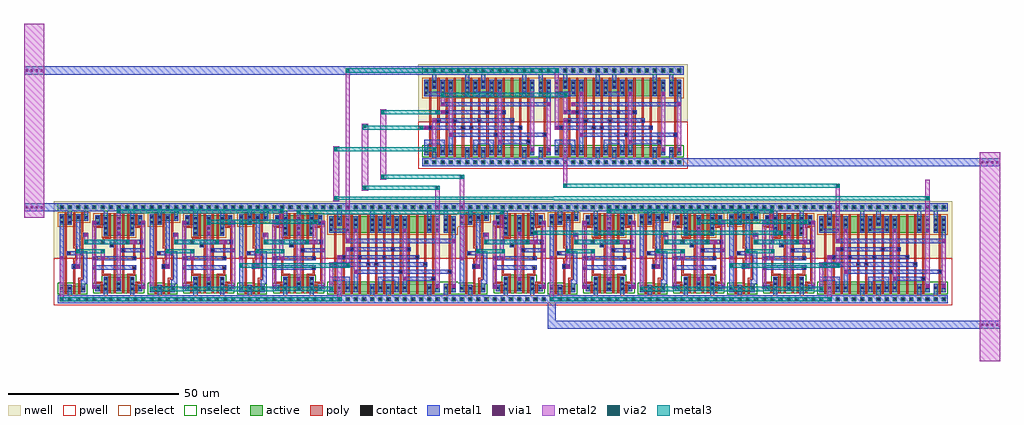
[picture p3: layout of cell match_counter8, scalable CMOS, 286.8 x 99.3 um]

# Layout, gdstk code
import gdstk
lib = gdstk.Library(unit=1e-6, precision=1e-09)
def R(c, l, rs):  # rectangles x0, y0, x1, y1
    for r in rs: c.add(gdstk.rectangle(r[:2], r[2:], *l))
def A(c, l, x, y, w, h, nx, ny, dx, dy):  # array of equal rectangles
    R(c, l, [(x+i*dx, y+j*dy, x+i*dx+w, y+j*dy+h) for i in range(nx) for j in range(ny)])
contact = (25, 0)
pwell = (41, 0)
nwell = (42, 0)
active = (43, 0)
pselect = (44, 0)
nselect = (45, 0)
poly = (46, 0)
metal1 = (49, 0)
via1 = (50, 0)
metal2 = (51, 0)
via2 = (61, 0)
metal3 = (62, 0)

fulladder = lib.new_cell('fulladder')
A(fulladder, contact, -0.3, -0.3, 0.6, 0.6, 16, 2, 2.4, 27)
A(fulladder, contact, -0.3, 3, 0.6, 0.6, 4, 1, 2.4, 0)
A(fulladder, contact, 11.7, 3, 0.6, 0.6, 5, 1, 2.4, 0)
A(fulladder, contact, 28.5, 3, 0.6, 0.6, 4, 2, 2.4, 17.1)
A(fulladder, contact, -0.3, 20.1, 0.6, 0.6, 1, 3, 0, 1.5)
A(fulladder, contact, 4.5, 20.1, 0.6, 0.6, 1, 3, 0, 1.5)
A(fulladder, contact, 6.9, 20.1, 0.6, 0.6, 1, 3, 0, 1.5)
A(fulladder, contact, 11.7, 20.1, 0.6, 0.6, 1, 3, 0, 1.5)
A(fulladder, contact, 14.1, 20.1, 0.6, 0.6, 1, 3, 0, 1.5)
A(fulladder, contact, 18.9, 20.1, 0.6, 0.6, 1, 3, 0, 1.5)
A(fulladder, contact, 21.3, 20.1, 0.6, 0.6, 1, 3, 0, 1.5)
A(fulladder, contact, 28.5, 21.6, 0.6, 0.6, 4, 2, 2.4, 1.5)
R(fulladder, contact, [(29.7,5.7,30.3,6.3), (20.1,7.8,20.7,8.4), (34.5,7.8,35.1,8.4), (0.9,9.9,1.5,10.5), (10.5,9.9,11.1,10.5), (12.9,9.9,13.5,10.5), (27.3,9.9,27.9,10.5), (3.3,12,3.9,12.6), (8.1,12,8.7,12.6), (15.3,12,15.9,12.6), (24.9,12,25.5,12.6), (5.7,14.4,6.3,15), (17.7,14.4,18.3,15), (22.5,14.4,23.1,15), (2.1,21.9,2.7,22.5), (16.5,21.9,17.1,22.5), (2.1,23.4,2.7,24), (16.5,23.4,17.1,24)])
A(fulladder, pwell, -1.5, -1.5, 3, 3, 16, 1, 2.4, 0)
A(fulladder, pwell, -2.4, 0.3, 4.8, 6, 4, 1, 2.4, 0)
A(fulladder, pwell, -1.8, 0.3, 6, 6, 13, 1, 2.4, 0)
A(fulladder, pwell, 9.6, 0.3, 4.8, 6, 5, 1, 2.4, 0)
A(fulladder, pwell, 26.4, 0.3, 4.8, 6, 4, 1, 2.4, 0)
A(fulladder, pwell, -2.25, 1.05, 4.65, 4.5, 4, 1, 2.4, 0)
A(fulladder, pwell, 0.15, 1.05, 4.5, 4.5, 13, 1, 2.4, 0)
A(fulladder, pwell, 9.75, 1.05, 4.65, 4.5, 3, 1, 2.4, 0)
R(fulladder, pwell, [(-2.4,-1.8,38.4,12), (-2.4,-1.5,38.4,6.3), (31.8,0.3,37.8,6.3), (16.8,1.05,21.45,5.55), (16.95,1.05,21.6,5.55), (19.35,1.05,24,5.55), (26.55,1.05,31.2,5.55), (31.35,1.05,36,5.55), (33.75,1.05,38.25,5.55)])
A(fulladder, nwell, -1.8, 17.7, 6, 8.4, 13, 1, 2.4, 0)
A(fulladder, nwell, 26.4, 17.7, 4.8, 8.4, 4, 1, 2.4, 0)
A(fulladder, nwell, 4.95, 19.65, 4.5, 4.5, 3, 1, 2.4, 0)
A(fulladder, nwell, 19.35, 19.65, 4.5, 4.5, 4, 1, 2.4, 0)
A(fulladder, nwell, 26.55, 19.65, 4.5, 4.5, 4, 1, 2.4, 0)
A(fulladder, nwell, -1.5, 25.5, 3, 3, 16, 1, 2.4, 0)
R(fulladder, nwell, [(-2.4,12,38.4,28.8), (-2.4,14.1,38.4,24.9), (-2.4,17.7,2.4,26.1), (2.4,17.7,7.2,26.1), (4.8,17.7,9.6,26.1), (9.6,17.7,14.4,26.1), (12,17.7,16.8,26.1), (16.8,17.7,21.6,26.1), (19.2,17.7,24,26.1), (31.8,17.7,37.8,26.1), (-2.25,19.65,2.25,24.15), (2.55,19.65,7.05,24.15), (2.55,19.65,7.05,24.15), (4.95,19.65,9.45,24.15), (9.75,19.65,14.25,24.15), (12.15,19.65,16.65,24.15), (12.15,19.65,16.65,24.15), (19.35,19.65,23.85,24.15), (0,19.8,4.8,26.1), (0.15,19.8,4.65,24.3), (0.15,19.8,4.65,24.3), (14.4,19.8,19.2,26.1), (14.55,19.8,19.05,24.3), (14.55,19.8,19.05,24.3), (16.95,19.95,21.45,24.45), (16.95,19.95,21.45,24.45)])
A(fulladder, active, -0.6, -0.6, 1.2, 1.2, 16, 2, 2.4, 27)
A(fulladder, active, -0.6, 2.1, 1.2, 2.4, 4, 1, 2.4, 0)
A(fulladder, active, 0, 2.1, 2.4, 2.4, 13, 1, 2.4, 0)
A(fulladder, active, 11.4, 2.1, 1.2, 2.4, 5, 1, 2.4, 0)
A(fulladder, active, 28.2, 2.1, 1.2, 2.4, 4, 1, 2.4, 0)
A(fulladder, active, -0.45, 2.85, 1.05, 0.9, 4, 1, 2.4, 0)
A(fulladder, active, 1.95, 2.85, 0.9, 0.9, 13, 1, 2.4, 0)
A(fulladder, active, 11.55, 2.85, 1.05, 0.9, 3, 1, 2.4, 0)
A(fulladder, active, 0, 19.5, 2.4, 4.8, 13, 1, 2.4, 0)
A(fulladder, active, 28.2, 19.5, 1.2, 4.8, 4, 1, 2.4, 0)
A(fulladder, active, 6.75, 21.45, 0.9, 0.9, 3, 1, 2.4, 0)
A(fulladder, active, 21.15, 21.45, 0.9, 0.9, 4, 1, 2.4, 0)
A(fulladder, active, 28.35, 21.45, 0.9, 0.9, 4, 1, 2.4, 0)
R(fulladder, active, [(33.6,2.1,36,4.5), (18.6,2.85,19.65,3.75), (18.75,2.85,19.8,3.75), (21.15,2.85,22.2,3.75), (28.35,2.85,29.4,3.75), (33.15,2.85,34.2,3.75), (35.55,2.85,36.45,3.75), (-0.6,19.5,0.6,24.3), (4.2,19.5,5.4,24.3), (6.6,19.5,7.8,24.3), (11.4,19.5,12.6,24.3), (13.8,19.5,15,24.3), (18.6,19.5,19.8,24.3), (21,19.5,22.2,24.3), (33.6,19.5,36,24.3), (-0.45,21.45,0.45,22.35), (4.35,21.45,5.25,22.35), (4.35,21.45,5.25,22.35), (6.75,21.45,7.65,22.35), (11.55,21.45,12.45,22.35), (13.95,21.45,14.85,22.35), (13.95,21.45,14.85,22.35), (21.15,21.45,22.05,22.35), (1.8,21.6,3,24.3), (1.95,21.6,2.85,22.5), (1.95,21.6,2.85,22.5), (16.2,21.6,17.4,24.3), (16.35,21.6,17.25,22.5), (16.35,21.6,17.25,22.5), (18.75,21.75,19.65,22.65), (18.75,21.75,19.65,22.65)])
A(fulladder, pselect, -1.2, -1.2, 2.4, 2.4, 16, 1, 2.4, 0)
A(fulladder, pselect, -0.6, 18.9, 3.6, 6, 13, 1, 2.4, 0)
A(fulladder, pselect, 27.6, 18.9, 2.4, 6, 4, 1, 2.4, 0)
A(fulladder, pselect, 6.15, 20.85, 2.1, 2.1, 3, 1, 2.4, 0)
A(fulladder, pselect, 20.55, 20.85, 2.1, 2.1, 4, 1, 2.4, 0)
A(fulladder, pselect, 27.75, 20.85, 2.1, 2.1, 4, 1, 2.4, 0)
R(fulladder, pselect, [(-1.2,18.9,1.2,24.9), (3.6,18.9,6,24.9), (6,18.9,8.4,24.9), (10.8,18.9,13.2,24.9), (13.2,18.9,15.6,24.9), (18,18.9,20.4,24.9), (20.4,18.9,22.8,24.9), (33,18.9,36.6,24.9), (-1.05,20.85,1.05,22.95), (3.75,20.85,5.85,22.95), (3.75,20.85,5.85,22.95), (6.15,20.85,8.25,22.95), (10.95,20.85,13.05,22.95), (13.35,20.85,15.45,22.95), (13.35,20.85,15.45,22.95), (20.55,20.85,22.65,22.95), (1.2,21,3.6,24.9), (1.35,21,3.45,23.1), (1.35,21,3.45,23.1), (15.6,21,18,24.9), (15.75,21,17.85,23.1), (15.75,21,17.85,23.1), (18.15,21.15,20.25,23.25), (18.15,21.15,20.25,23.25)])
A(fulladder, nselect, -1.2, 1.5, 2.4, 3.6, 4, 1, 2.4, 0)
A(fulladder, nselect, -0.6, 1.5, 3.6, 3.6, 13, 1, 2.4, 0)
A(fulladder, nselect, 10.8, 1.5, 2.4, 3.6, 5, 1, 2.4, 0)
A(fulladder, nselect, 27.6, 1.5, 2.4, 3.6, 4, 1, 2.4, 0)
A(fulladder, nselect, -1.05, 2.25, 2.25, 2.1, 4, 1, 2.4, 0)
A(fulladder, nselect, 1.35, 2.25, 2.1, 2.1, 13, 1, 2.4, 0)
A(fulladder, nselect, 10.95, 2.25, 2.25, 2.1, 3, 1, 2.4, 0)
A(fulladder, nselect, -1.2, 25.8, 2.4, 2.4, 16, 1, 2.4, 0)
R(fulladder, nselect, [(33,1.5,36.6,5.1), (18,2.25,20.25,4.35), (18.15,2.25,20.4,4.35), (20.55,2.25,22.8,4.35), (27.75,2.25,30,4.35), (32.55,2.25,34.8,4.35), (34.95,2.25,37.05,4.35)])
A(fulladder, poly, 0.9, 1.5, 0.6, 3.6, 13, 1, 2.4, 0)
A(fulladder, poly, 0.9, 18.9, 0.6, 6, 13, 1, 2.4, 0)
R(fulladder, poly, [(34.5,1.5,35.1,5.1), (0.9,4.8,1.5,10.5), (3.3,4.8,3.9,12.6), (5.7,4.8,6.3,15), (8.1,4.8,8.7,12.3), (10.5,4.8,11.1,10.5), (12.9,4.8,13.5,10.5), (15.3,4.8,15.9,12.6), (17.7,4.8,18.3,15), (20.1,4.8,20.7,8.4), (22.5,4.8,23.1,15), (24.9,4.8,25.5,12.6), (27.3,4.8,27.9,10.5), (29.7,4.8,30.3,6.3), (34.5,4.8,35.1,8.4), (29.4,5.4,30.6,6.6), (29.7,5.7,30.45,6.3), (29.7,5.7,30.3,19.2), (19.8,7.5,21,8.7), (34.2,7.5,35.4,8.7), (20.1,7.8,20.85,8.4), (20.1,7.8,20.7,19.2), (34.5,7.8,35.25,8.4), (34.5,7.8,35.1,19.2), (0.6,9.6,1.8,10.8), (10.2,9.6,11.4,10.8), (12.6,9.6,13.8,10.8), (27,9.6,28.2,10.8), (0.9,9.9,1.65,10.5), (0.9,9.9,1.5,19.2), (0.9,9.9,1.5,10.5), (10.35,9.9,11.1,10.5), (10.5,9.9,11.1,19.2), (12.9,9.9,13.65,10.5), (12.9,9.9,13.5,19.2), (12.9,9.9,13.5,10.5), (27.3,9.9,28.05,10.5), (27.3,9.9,27.9,19.2), (3,11.7,4.2,12.9), (7.8,11.7,9,12.9), (8.1,11.7,8.7,19.2), (8.1,11.7,8.7,12.6), (15,11.7,16.2,12.9), (24.6,11.7,25.8,12.9), (3.3,12,4.05,12.6), (3.3,12,3.9,19.2), (3.3,12,3.9,12.6), (15.3,12,16.05,12.6), (15.3,12,15.9,19.2), (24.9,12,25.65,12.6), (24.9,12,25.5,19.2), (5.4,14.1,6.6,15.3), (17.4,14.1,18.6,15.3), (22.2,14.1,23.4,15.3), (5.7,14.4,6.45,15), (5.7,14.4,6.3,19.2), (5.7,14.4,6.3,15), (17.7,14.4,18.45,15), (17.7,14.4,18.3,19.2), (22.5,14.4,23.25,15), (22.5,14.4,23.1,19.2), (34.5,18.9,35.1,24.9)])
A(fulladder, metal1, -0.6, -0.6, 1.2, 1.2, 16, 2, 2.4, 27)
A(fulladder, metal1, 4.2, -0.6, 3.6, 1.2, 13, 1, 2.4, 0)
A(fulladder, metal1, -0.6, 2.1, 1.2, 2.4, 4, 1, 2.4, 0)
A(fulladder, metal1, 11.4, 2.1, 1.2, 2.4, 5, 1, 2.4, 0)
A(fulladder, metal1, 28.2, 2.1, 1.2, 2.4, 4, 1, 2.4, 0)
A(fulladder, metal1, 28.2, 19.5, 1.2, 4.8, 4, 1, 2.4, 0)
A(fulladder, metal1, 4.2, 26.4, 3.6, 1.2, 12, 1, 2.4, 0)
R(fulladder, metal1, [(-1.2,-1.2,3.6,1.2), (-1.2,-1.2,3.6,1.2), (-1.2,-1.2,1.2,1.2), (1.2,-1.2,13.2,1.2), (1.2,-1.2,6,1.2), (10.8,-1.2,18,1.2), (15.6,-1.2,30,1.2), (27.6,-1.2,34.8,1.2), (32.4,-1.2,37.2,1.2), (1.8,-0.6,3,3.3), (11.4,-0.6,12.6,3.3), (16.2,-0.6,17.4,3.3), (28.2,-0.6,29.4,3.3), (33,-0.6,34.2,3.3), (-0.6,2.7,0.6,6.6), (4.2,2.7,5.4,6.6), (13.8,2.7,15,6.6), (18.6,2.7,19.8,6.6), (6.6,3.3,7.8,8.7), (21,3.3,22.2,6.6), (30.6,3.3,31.8,4.5), (30.6,3.3,31.8,4.5), (35.4,3.3,36.6,4.5), (35.4,3.3,36.6,4.5), (-0.6,5.4,5.4,6.6), (13.8,5.4,19.8,6.6), (21,5.4,22.2,6.6), (21,5.4,30.6,6.6), (29.4,5.4,30.6,6.6), (6.6,7.5,7.8,8.7), (6.6,7.5,21,8.7), (19.8,7.5,21,8.7), (19.8,7.5,21,8.7), (19.8,7.5,35.4,8.7), (34.2,7.5,35.4,8.7), (-0.6,9.6,0.6,10.8), (-0.6,9.6,1.8,10.8), (0.6,9.6,1.8,10.8), (0.6,9.6,11.4,10.8), (10.2,9.6,11.4,10.8), (10.2,9.6,11.4,10.8), (10.2,9.6,13.8,10.8), (12.6,9.6,13.8,10.8), (12.6,9.6,13.8,10.8), (12.6,9.6,28.2,10.8), (27,9.6,28.2,10.8), (1.8,11.7,3,12.9), (1.8,11.7,4.2,12.9), (3,11.7,4.2,12.9), (3,11.7,9,12.9), (7.8,11.7,9,12.9), (7.8,11.7,9,12.9), (7.8,11.7,16.2,12.9), (15,11.7,16.2,12.9), (15,11.7,16.2,12.9), (15,11.7,25.8,12.9), (24.6,11.7,25.8,12.9), (4.2,14.1,5.4,15.3), (4.2,14.1,6.6,15.3), (5.4,14.1,6.6,15.3), (5.4,14.1,18.6,15.3), (17.4,14.1,18.6,15.3), (17.4,14.1,18.6,15.3), (17.4,14.1,23.4,15.3), (22.2,14.1,23.4,15.3), (4.2,16.5,5.4,17.7), (4.2,16.5,36.6,17.7), (35.4,16.5,36.6,17.7), (35.4,16.5,36.6,20.7), (-0.6,19.5,0.6,24.3), (-0.6,19.5,0.6,22.5), (-0.6,19.5,5.4,20.7), (4.2,19.5,5.4,24.3), (6.6,19.5,7.8,20.7), (6.6,19.5,7.8,20.7), (6.6,19.5,7.8,24.3), (11.4,19.5,12.6,24.3), (13.8,19.5,15,24.3), (13.8,19.5,15,22.5), (13.8,19.5,19.8,20.7), (18.6,19.5,19.8,24.3), (21,19.5,22.2,20.7), (21,19.5,22.2,20.7), (21,19.5,22.2,24.3), (30.6,19.5,31.8,20.7), (30.6,19.5,31.8,20.7), (1.8,21.6,3,24.3), (16.2,21.6,17.4,24.3), (1.8,23.1,3,27.6), (11.4,23.1,12.6,27.6), (16.2,23.1,17.4,27.6), (28.2,23.1,29.4,27.6), (33,23.1,34.2,27.6), (-1.2,25.8,3.6,28.2), (-1.2,25.8,3.6,28.2), (-1.2,25.8,1.2,28.2), (1.2,25.8,13.2,28.2), (1.2,25.8,6,28.2), (10.8,25.8,18,28.2), (15.6,25.8,30,28.2), (27.6,25.8,34.8,28.2), (32.4,25.8,37.2,28.2), (32.4,25.8,37.2,28.2)])
R(fulladder, via1, [(30.9,3.6,31.5,4.2), (35.7,3.6,36.3,4.2), (21.3,5.7,21.9,6.3), (6.9,7.8,7.5,8.4), (-0.3,9.9,0.3,10.5), (2.1,12,2.7,12.6), (4.5,14.4,5.1,15), (4.5,16.8,5.1,17.4), (35.7,16.8,36.3,17.4), (6.9,19.8,7.5,20.4), (21.3,19.8,21.9,20.4), (30.9,19.8,31.5,20.4)])
R(fulladder, metal2, [(30.6,3.3,31.8,4.5), (30.6,3.3,31.8,20.4), (35.4,3.3,36.6,4.5), (35.4,3.3,36.6,17.7), (21,5.4,22.2,6.6), (21,5.4,22.2,20.4), (6.6,7.5,7.8,8.7), (6.6,7.5,7.8,20.4), (-0.6,9.6,0.6,10.8), (1.8,11.7,3,12.9), (4.2,14.1,5.4,15.3), (4.2,16.5,5.4,17.7), (35.4,16.5,36.6,17.7), (6.6,19.5,7.8,20.7), (21,19.5,22.2,20.7), (30.6,19.5,31.8,20.7)])

and2_1x = lib.new_cell('and2_1x')
A(and2_1x, contact, 0.3, -0.3, 0.6, 0.6, 4, 2, 2.4, 27)
R(and2_1x, contact, [(6.6,2.7,7.2,3.3), (0.3,2.85,0.9,3.45), (2.7,2.85,3.3,3.45), (3.9,9.3,4.5,9.9), (2.4,13.2,3,13.8), (7.2,18.6,7.8,19.2), (0.3,22.35,0.9,22.95), (2.7,22.35,3.3,22.95), (5.1,23.7,5.7,24.3), (7.5,23.7,8.1,24.3), (0.3,23.85,0.9,24.45), (2.7,23.85,3.3,24.45)])
A(and2_1x, pwell, -0.9, -1.5, 3, 3, 4, 1, 2.4, 0)
R(and2_1x, pwell, [(-1.8,-1.8,10.2,12), (-1.8,0.3,3,6), (-1.2,0.3,4.8,6), (0.6,0.3,5.4,6), (1.2,0.3,7.2,5.7), (2.7,0.3,8.7,5.7), (4.5,0.3,9.3,5.7), (2.325,0.75,7.575,5.25), (0.75,0.9,5.325,5.4), (4.575,0.9,9.15,5.4), (-1.65,1.35,2.925,5.85), (0.675,1.425,5.25,5.925)])
A(and2_1x, nwell, -0.9, 25.5, 3, 3, 4, 1, 2.4, 0)
R(and2_1x, nwell, [(-1.8,12,10.2,28.8), (-1.8,20.1,3,26.7), (-1.2,20.1,4.8,26.7), (0.6,20.1,5.4,26.7), (0.675,20.1,5.25,24.6), (-1.65,20.55,2.925,25.05), (0.75,21.3,5.325,25.8), (1.2,21.3,7.2,26.7), (3,21.3,7.8,26.7), (3.075,21.3,7.65,25.8), (3.15,21.3,7.65,26.7), (3.225,21.3,7.725,26.7), (3.6,21.3,9.6,26.7), (5.4,21.3,10.2,26.7), (3.15,22.2,7.725,26.7), (5.475,22.2,10.05,26.7)])
A(and2_1x, active, 0, -0.6, 1.2, 1.2, 4, 2, 2.4, 27)
R(and2_1x, active, [(0,2.1,1.2,4.2), (0.6,2.1,3,4.2), (2.4,2.1,3.6,4.2), (3,2.1,5.4,3.9), (4.5,2.1,6.9,3.9), (6.3,2.1,7.5,3.9), (4.125,2.55,5.775,3.45), (2.55,2.7,3.525,3.6), (6.375,2.7,7.35,3.6), (0.15,3.15,1.125,4.05), (2.475,3.225,3.45,4.125), (0,21.9,1.2,24.9), (0.6,21.9,3,24.9), (2.4,21.9,3.6,24.9), (2.475,21.9,3.45,22.8), (0.15,22.35,1.125,23.25), (2.55,23.1,3.525,24), (3,23.1,5.4,24.9), (4.8,23.1,6,24.9), (4.875,23.1,5.85,24), (4.95,23.1,5.85,24.9), (5.025,23.1,5.925,24.9), (5.4,23.1,7.8,24.9), (7.2,23.1,8.4,24.9), (4.95,24,5.925,24.9), (7.275,24,8.25,24.9)])
A(and2_1x, pselect, -0.6, -1.2, 2.4, 2.4, 4, 1, 2.4, 0)
R(and2_1x, pselect, [(-0.6,21.3,1.8,25.5), (0,21.3,3.6,25.5), (1.8,21.3,4.2,25.5), (1.875,21.3,4.05,23.4), (-0.45,21.75,1.725,23.85), (1.95,22.5,4.125,24.6), (2.4,22.5,6,25.5), (4.2,22.5,6.6,25.5), (4.275,22.5,6.45,24.6), (4.35,22.5,6.45,25.5), (4.425,22.5,6.525,25.5), (4.8,22.5,8.4,25.5), (6.6,22.5,9,25.5), (4.35,23.4,6.525,25.5), (6.675,23.4,8.85,25.5)])
A(and2_1x, nselect, -0.6, 25.8, 2.4, 2.4, 4, 1, 2.4, 0)
R(and2_1x, nselect, [(-0.6,1.5,1.8,4.8), (0,1.5,3.6,4.8), (1.8,1.5,4.2,4.8), (2.4,1.5,6,4.5), (3.9,1.5,7.5,4.5), (5.7,1.5,8.1,4.5), (3.525,1.95,6.375,4.05), (1.95,2.1,4.125,4.2), (5.775,2.1,7.95,4.2), (-0.45,2.55,1.725,4.65), (1.875,2.625,4.05,4.725)])
R(and2_1x, poly, [(1.5,1.5,2.1,4.8), (3.9,1.5,4.5,4.5), (5.4,1.5,6,4.5), (3.9,4.2,4.5,9.9), (5.4,4.2,6,6.3), (1.5,4.5,2.1,13.8), (5.4,5.7,6.9,6.3), (6.3,5.7,6.9,19.2), (3.6,9,4.8,10.2), (3.9,9.3,4.5,9.9), (3.9,9.3,4.5,12), (3.9,11.4,5.1,12), (4.5,11.4,5.1,15.6), (2.1,12.9,3.3,14.1), (1.5,13.2,2.1,21.6), (1.5,13.2,3,13.8), (3.9,15,4.5,22.8), (3.9,15,5.1,15.6), (6.9,18.3,8.1,19.5), (6.3,18.6,6.9,22.8), (6.3,18.6,7.8,19.2), (1.5,21.3,2.1,25.5), (3.9,22.5,4.5,25.5), (6.3,22.5,6.9,25.5)])
A(and2_1x, metal1, -0.6, -1.2, 4.8, 2.4, 3, 1, 2.4, 0)
A(and2_1x, metal1, 0, -0.6, 1.2, 1.2, 4, 2, 2.4, 27)
R(and2_1x, metal1, [(-0.6,-1.2,1.8,1.2), (-0.6,-1.2,4.2,1.2), (2.4,-0.6,3.6,3.3), (0,2.1,1.2,4.2), (2.4,2.1,3.6,4.2), (6.3,2.1,7.5,3.9), (6.3,2.7,7.5,5.7), (0,3,1.2,12.6), (6.3,4.5,8.1,5.7), (6.9,4.5,8.1,14.1), (3.6,9,4.8,10.2), (3.6,9,6,10.2), (4.8,9,6,10.2), (0,11.4,1.2,12.6), (0,11.4,1.2,23.1), (2.1,12.9,3.3,14.1), (2.1,12.9,6,14.1), (4.8,12.9,6,24.3), (4.8,12.9,8.1,14.1), (6.9,18.3,8.1,19.5), (6.9,18.3,8.1,19.5), (7.2,18.3,8.4,19.5), (0,21.9,1.2,24.9), (2.4,21.9,3.6,24.9), (4.8,23.1,6,24.9), (7.2,23.1,8.4,24.9), (2.4,23.7,3.6,27.6), (7.2,23.7,8.4,27.6), (-0.6,25.8,1.8,28.2), (-0.6,25.8,4.2,28.2), (1.8,25.8,9,28.2), (0,26.4,1.2,27.6), (4.8,26.4,8.4,27.6), (7.2,26.4,8.4,27.6)])
R(and2_1x, via1, [(5.1,9.3,5.7,9.9), (0.3,11.7,0.9,12.3), (7.5,18.6,8.1,19.2)])
R(and2_1x, metal2, [(4.8,9,6,10.2), (0,11.4,1.2,12.6), (7.2,18.3,8.4,19.5)])

xor2_1x = lib.new_cell('xor2_1x')
A(xor2_1x, contact, 0.3, -0.3, 0.6, 0.6, 7, 2, 2.4, 27)
A(xor2_1x, contact, 3.6, 2.7, 0.6, 0.6, 3, 3, 3.9, 1.5)
A(xor2_1x, contact, 3.6, 19.05, 0.6, 0.6, 3, 4, 3.9, 1.5)
R(xor2_1x, contact, [(1.2,3,1.8,3.6), (13.8,3,14.4,3.6), (12,9,12.6,9.6), (0.6,11.7,1.2,12.3), (2.7,11.7,3.3,12.3), (12,11.7,12.6,12.3), (8.7,14.1,9.3,14.7), (5.4,15.6,6,16.2), (2.7,16.5,3.3,17.1), (14.1,16.5,14.7,17.1), (1.2,22.2,1.8,22.8), (13.8,22.2,14.4,22.8), (1.2,23.7,1.8,24.3), (13.8,23.7,14.4,24.3)])
A(xor2_1x, pwell, -0.9, -1.5, 3, 3, 7, 1, 2.4, 0)
A(xor2_1x, pwell, 1.5, 0.6, 4.8, 7.8, 3, 1, 3.9, 0)
R(xor2_1x, pwell, [(-1.8,-1.8,17.4,12), (-0.9,0.6,3.9,6), (-0.3,0.6,5.7,6), (2.1,0.6,8.1,8.4), (3.6,0.6,9.6,8.4), (6,0.6,12,8.4), (7.5,0.6,13.5,8.4), (9.9,0.6,15.9,6), (11.7,0.6,16.5,6), (1.575,0.75,6.15,5.25), (-0.75,1.05,3.825,5.55), (11.775,1.05,16.275,5.55), (9.45,1.5,14.025,6), (1.65,2.25,6.225,6.75), (3.225,2.25,8.475,6.75), (5.475,2.25,10.05,6.75), (5.55,2.25,10.125,6.75), (7.125,2.25,12.375,6.75), (9.375,2.25,13.95,6.75)])
A(xor2_1x, nwell, 1.5, 16.8, 4.8, 9.6, 3, 1, 3.9, 0)
A(xor2_1x, nwell, -0.9, 25.5, 3, 3, 7, 1, 2.4, 0)
R(xor2_1x, nwell, [(-1.8,12,17.4,28.8), (2.1,16.8,8.1,26.4), (3.6,16.8,9.6,26.4), (6,16.8,12,26.4), (7.5,16.8,13.5,26.4), (1.65,19.35,6.225,23.85), (3.225,19.35,8.475,23.85), (5.475,19.35,10.05,23.85), (5.55,19.35,10.125,23.85), (7.125,19.35,12.375,23.85), (9.375,19.35,13.95,23.85), (-0.9,20.1,3.9,26.4), (-0.3,20.1,5.7,26.4), (9.9,20.1,15.9,26.4), (11.7,20.1,16.5,26.4), (1.575,20.85,6.15,25.35), (9.45,20.85,14.025,25.35), (11.775,21,16.35,25.5), (-0.75,21.3,3.825,25.8)])
A(xor2_1x, active, 0, -0.6, 1.2, 1.2, 7, 2, 2.4, 27)
A(xor2_1x, active, 3.3, 2.4, 1.2, 4.2, 3, 1, 3.9, 0)
A(xor2_1x, active, 3.3, 18.6, 1.2, 6, 3, 1, 3.9, 0)
R(xor2_1x, active, [(0.9,2.4,2.1,4.2), (1.5,2.4,3.9,4.2), (3.9,2.4,6.3,6.6), (5.4,2.4,7.8,6.6), (7.8,2.4,10.2,6.6), (9.3,2.4,11.7,6.6), (11.7,2.4,14.1,4.2), (13.5,2.4,14.7,4.2), (3.375,2.55,4.35,3.45), (1.05,2.85,2.025,3.75), (13.575,2.85,14.475,3.75), (11.25,3.3,12.225,4.2), (3.45,4.05,4.425,4.95), (5.025,4.05,6.675,4.95), (7.275,4.05,8.25,4.95), (7.35,4.05,8.325,4.95), (8.925,4.05,10.575,4.95), (11.175,4.05,12.15,4.95), (3.9,18.6,6.3,24.6), (5.4,18.6,7.8,24.6), (7.8,18.6,10.2,24.6), (9.3,18.6,11.7,24.6), (3.45,21.15,4.425,22.05), (5.025,21.15,6.675,22.05), (7.275,21.15,8.25,22.05), (7.35,21.15,8.325,22.05), (8.925,21.15,10.575,22.05), (11.175,21.15,12.15,22.05), (0.9,21.9,2.1,24.6), (1.5,21.9,3.9,24.6), (11.7,21.9,14.1,24.6), (13.5,21.9,14.7,24.6), (3.375,22.65,4.35,23.55), (11.25,22.65,12.225,23.55), (13.575,22.8,14.55,23.7), (1.05,23.1,2.025,24)])
A(xor2_1x, pselect, -0.6, -1.2, 2.4, 2.4, 7, 1, 2.4, 0)
A(xor2_1x, pselect, 2.7, 18, 2.4, 7.2, 3, 1, 3.9, 0)
R(xor2_1x, pselect, [(3.3,18,6.9,25.2), (4.8,18,8.4,25.2), (7.2,18,10.8,25.2), (8.7,18,12.3,25.2), (2.85,20.55,5.025,22.65), (4.425,20.55,7.275,22.65), (6.675,20.55,8.85,22.65), (6.75,20.55,8.925,22.65), (8.325,20.55,11.175,22.65), (10.575,20.55,12.75,22.65), (0.3,21.3,2.7,25.2), (0.9,21.3,4.5,25.2), (11.1,21.3,14.7,25.2), (12.9,21.3,15.3,25.2), (2.775,22.05,4.95,24.15), (10.65,22.05,12.825,24.15), (12.975,22.2,15.15,24.3), (0.45,22.5,2.625,24.6)])
A(xor2_1x, nselect, 2.7, 1.8, 2.4, 5.4, 3, 1, 3.9, 0)
A(xor2_1x, nselect, -0.6, 25.8, 2.4, 2.4, 7, 1, 2.4, 0)
R(xor2_1x, nselect, [(0.3,1.8,2.7,4.8), (0.9,1.8,4.5,4.8), (3.3,1.8,6.9,7.2), (4.8,1.8,8.4,7.2), (7.2,1.8,10.8,7.2), (8.7,1.8,12.3,7.2), (11.1,1.8,14.7,4.8), (12.9,1.8,15.3,4.8), (2.775,1.95,4.95,4.05), (0.45,2.25,2.625,4.35), (12.975,2.25,15.075,4.35), (10.65,2.7,12.825,4.8), (2.85,3.45,5.025,5.55), (4.425,3.45,7.275,5.55), (6.675,3.45,8.85,5.55), (6.75,3.45,8.925,5.55), (8.325,3.45,11.175,5.55), (10.575,3.45,12.75,5.55)])
R(xor2_1x, poly, [(2.4,1.8,3,4.8), (4.8,1.8,5.4,7.2), (6.3,1.8,6.9,7.2), (8.7,1.8,9.3,7.2), (10.2,1.8,10.8,7.2), (12.6,1.8,13.2,4.8), (0.6,4.5,3,5.1), (0.6,4.5,1.2,12.3), (12.6,4.5,14.7,5.1), (14.1,4.5,14.7,17.1), (2.7,6.9,3.3,12.3), (2.7,6.9,5.4,7.5), (6.3,6.9,6.9,16.2), (8.7,6.9,9.3,14.7), (10.2,6.9,12.6,7.5), (12,6.9,12.6,9.6), (11.7,8.7,12.9,9.9), (0.3,11.4,1.5,12.6), (2.4,11.4,3.6,12.6), (11.7,11.4,12.9,12.6), (0.6,11.7,1.2,21.6), (0.6,11.7,1.2,12.3), (12,11.7,12.6,17.1), (12,11.7,12.6,12.3), (8.4,13.8,9.6,15), (8.7,14.1,9.3,14.7), (8.7,14.1,9.3,18.3), (5.1,15.3,6.3,16.5), (5.4,15.6,6.9,16.2), (6.3,15.6,6.9,18.3), (2.4,16.2,3.6,17.4), (13.8,16.2,15,17.4), (2.7,16.5,3.6,17.1), (3,16.5,3.6,18.3), (10.2,16.5,12.6,17.1), (10.2,16.5,10.8,18.3), (14.1,16.5,14.7,17.1), (14.1,16.5,14.7,21.6), (3,17.7,5.4,18.3), (4.8,18,5.4,25.2), (6.3,18,6.9,25.2), (8.7,18,9.3,25.2), (10.2,18,10.8,25.2), (0.6,21,3,21.6), (12.6,21,14.7,21.6), (2.4,21.3,3,25.2), (12.6,21.3,13.2,25.2)])
A(xor2_1x, metal1, 0, -0.6, 1.2, 1.2, 5, 1, 2.4, 0)
A(xor2_1x, metal1, 9.6, -0.6, 1.2, 1.2, 3, 2, 2.4, 27)
A(xor2_1x, metal1, 3.3, 2.4, 1.2, 4.2, 3, 1, 3.9, 0)
A(xor2_1x, metal1, 3.3, 18.6, 1.2, 6, 3, 1, 3.9, 0)
A(xor2_1x, metal1, 0, 26.4, 1.2, 1.2, 3, 1, 2.4, 0)
R(xor2_1x, metal1, [(-0.6,-1.2,1.8,1.2), (-0.6,-1.2,4.2,1.2), (1.8,-1.2,5.1,1.2), (2.7,-1.2,6.6,1.2), (4.2,-1.2,9,1.2), (6.6,-1.2,11.4,1.2), (9,-1.2,12.9,1.2), (10.5,-1.2,13.8,1.2), (11.4,-1.2,16.2,1.2), (13.8,-1.2,16.2,1.2), (3.3,-0.6,4.5,3.6), (11.1,-0.6,12.3,3.6), (14.4,-0.6,15.6,0.6), (0.9,2.4,2.1,4.2), (13.5,2.4,14.7,4.2), (0,3,1.2,4.2), (0,3,2.1,4.2), (13.5,3,15.6,4.2), (14.4,3,15.6,4.2), (7.2,5.4,8.4,6.6), (7.2,5.4,8.4,6.6), (0,8.7,1.2,9.9), (0,8.7,12.9,9.9), (11.7,8.7,12.9,9.9), (0.3,11.4,1.5,12.6), (0.45,11.4,3.6,12.6), (2.4,11.4,3.6,12.6), (2.4,11.4,3.6,12.6), (2.4,11.4,3.6,12.6), (2.4,11.4,12.9,12.6), (11.7,11.4,12.9,12.6), (8.4,13.8,9.6,15), (8.4,13.8,15.6,15), (14.4,13.8,15.6,15), (5.1,15.3,6.3,16.5), (5.1,15.3,6.3,17.4), (0,16.2,1.2,17.4), (0,16.2,3.6,17.4), (2.4,16.2,3.6,17.4), (5.1,16.2,12.9,17.4), (11.7,16.2,15,17.4), (12,16.2,13.2,17.4), (13.8,16.2,15,17.4), (7.2,18.6,8.4,19.8), (7.2,18.6,8.4,19.8), (0,21.9,1.2,23.1), (0,21.9,2.1,23.1), (0.9,21.9,2.1,24.6), (13.5,21.9,14.7,24.6), (13.5,21.9,15.6,23.1), (14.4,21.9,15.6,23.1), (3.3,23.4,4.5,27.6), (11.1,23.4,12.3,27.6), (-0.6,25.8,1.8,28.2), (-0.6,25.8,5.1,28.2), (2.7,25.8,6.6,28.2), (4.2,25.8,9,28.2), (6.6,25.8,11.4,28.2), (9,25.8,12.9,28.2), (10.5,25.8,15.9,28.2), (13.5,25.8,16.2,28.2), (2.4,26.4,6,27.6), (4.8,26.4,6,27.6), (7.2,26.4,8.4,27.6), (7.2,26.4,8.4,27.6), (9.6,26.4,10.8,27.6), (12,26.4,15.3,27.6), (14.4,26.4,15.6,27.6)])
R(xor2_1x, via1, [(0.3,3.3,0.9,3.9), (14.7,3.3,15.3,3.9), (7.5,5.7,8.1,6.3), (0.3,9,0.9,9.6), (2.7,11.7,3.3,12.3), (14.7,14.1,15.3,14.7), (0.3,16.5,0.9,17.1), (12.3,16.5,12.9,17.1), (7.5,18.9,8.1,19.5), (0.3,22.2,0.9,22.8), (14.7,22.2,15.3,22.8)])
R(xor2_1x, metal2, [(0,3,1.2,4.2), (0,3,1.2,10.2), (14.4,3,15.6,4.2), (14.4,3,15.6,15), (7.2,5.4,8.4,6.6), (7.2,5.4,8.4,19.8), (0,8.7,1.2,9.9), (0,9,1.2,17.7), (2.4,11.4,3.6,12.6), (14.4,13.8,15.6,15), (14.4,13.8,15.6,23.1), (0,16.2,1.2,17.4), (12,16.2,13.2,17.4), (0,16.5,1.2,23.1), (7.2,18.6,8.4,19.8), (0,21.9,1.2,23.1), (14.4,21.9,15.6,23.1)])

halfadder = lib.new_cell('halfadder')
R(halfadder, metal1, [(-37.2,-16.8,-25.2,-14.4), (-37.2,10.2,-25.2,12.6)])
R(halfadder, metal2, [(-31.8,-6.6,-30.6,-0.9), (-24.6,-4.2,-23.4,-0.9), (-31.8,-2.1,-30.6,-0.9), (-24.6,-2.1,-23.4,-0.9), (-29.4,0.6,-28.2,1.8), (-29.4,0.6,-28.2,3.9), (-17.4,0.6,-16.2,1.8), (-17.4,0.6,-13.8,1.8)])
R(halfadder, via2, [(-31.5,-1.8,-30.9,-1.2), (-24.3,-1.8,-23.7,-1.2), (-29.1,0.9,-28.5,1.5), (-17.1,0.9,-16.5,1.5)])
R(halfadder, metal3, [(-31.8,-2.1,-30.6,-0.9), (-31.8,-2.1,-23.4,-0.9), (-24.6,-2.1,-23.4,-0.9), (-29.4,0.6,-28.2,1.8), (-29.4,0.6,-16.2,1.8), (-17.4,0.6,-16.2,1.8)])
halfadder.add(gdstk.Reference(and2_1x, (-36.6,-15.6)))
halfadder.add(gdstk.Reference(xor2_1x, (-27,-15.6)))

adder4 = lib.new_cell('adder4')
A(adder4, metal1, -24.6, -15, 28.8, 2.4, 3, 2, 26.4, 27)
R(adder4, metal2, [(-24,-14.4,-22.8,-13.2), (-24,-14.4,-22.8,-1.2), (57.6,-14.4,58.8,-13.2), (57.6,-14.4,58.8,-0.9), (2.4,-11.4,3.6,-10.2), (2.4,-11.4,3.6,-1.2), (55.2,-11.4,56.4,-10.2), (55.2,-11.4,56.4,-3), (28.8,-4.5,30,-3.3), (28.8,-4.5,30,-1.2), (60,-4.5,61.2,-3.3), (60,-4.5,61.2,1.5), (40.5,-2.4,41.7,12.6), (50.4,2.4,51.6,9.6), (-7.2,4.8,-6,12.6), (19.2,4.8,20.4,9.3), (19.2,8.1,20.4,9.3), (50.4,8.4,51.6,9.6), (-7.2,11.4,-6,12.6), (40.5,11.4,41.7,12.6)])
R(adder4, via2, [(-23.7,-14.1,-23.1,-13.5), (57.9,-14.1,58.5,-13.5), (2.7,-11.1,3.3,-10.5), (55.5,-11.1,56.1,-10.5), (29.1,-4.2,29.7,-3.6), (60.3,-4.2,60.9,-3.6), (19.5,8.4,20.1,9), (50.7,8.7,51.3,9.3), (-6.9,11.7,-6.3,12.3), (40.8,11.7,41.4,12.3)])
R(adder4, metal3, [(-24,-14.4,-22.8,-13.2), (-24,-14.4,58.8,-13.2), (57.6,-14.4,58.8,-13.2), (2.4,-11.4,3.6,-10.2), (2.4,-11.4,56.4,-10.2), (55.2,-11.4,56.4,-10.2), (28.8,-4.5,30,-3.3), (28.8,-4.5,61.2,-3.3), (60,-4.5,61.2,-3.3), (19.2,8.1,20.4,9.3), (19.2,8.1,20.4,9.6), (19.2,8.4,51.6,9.6), (50.4,8.4,51.6,9.6), (-7.2,11.4,-6,12.6), (-7.2,11.4,41.7,12.6), (40.5,11.4,41.7,12.6)])
adder4.add(gdstk.Reference(fulladder, (55.8,-13.8)))
adder4.add(gdstk.Reference(halfadder, (12.6,1.8)))
adder4.add(gdstk.Reference(halfadder, (39,1.8)))
adder4.add(gdstk.Reference(halfadder, (65.4,1.8)))

match_counter8 = lib.new_cell('match_counter8')
R(match_counter8, metal1, [(14.7,-25.2,17.1,-15.3), (14.7,-25.2,144.9,-22.8), (141.6,-25.2,147.6,-22.8), (142.5,-25.2,145.8,-22.8), (-129.3,-17.7,-9.3,-15.3), (-11.7,-17.7,17.1,-15.3), (-139.2,9.3,-133.2,11.7), (-137.4,9.3,-126.9,11.7), (-129.3,9.3,-9.3,11.7), (-11.7,9.3,17.1,11.7), (-22.2,22.5,18.6,24.9), (16.2,22.5,145.8,24.9), (141.6,22.5,147.6,24.9), (19.2,37.8,20.4,39), (19.2,37.8,22.8,39), (-139.2,49.5,-133.2,51.9), (-137.4,49.5,-19.8,51.9), (-22.2,49.5,18.6,51.9)])
A(match_counter8, via1, 142.05, -24.3, 0.6, 0.6, 4, 2, 1.5, 47.7)
A(match_counter8, via1, -138.75, 10.2, 0.6, 0.6, 4, 2, 1.5, 40.2)
R(match_counter8, via1, [(19.5,38.1,20.1,38.7)])
R(match_counter8, metal2, [(141.6,-34.8,147.6,-24), (141.6,-25.2,147.6,-22.8), (141.6,-24,147.6,-11.7), (141.6,-17.7,147.6,26.7), (-18.3,-13.2,-17.1,16.8), (125.7,-13.2,126.9,18.6), (-11.1,-5.1,-9.9,20.1), (0.6,-5.1,1.8,9.6), (10.5,-0.3,11.7,3.6), (-44.7,0,-43.5,15.6), (99.3,0,100.5,17.4), (-59.1,2.1,-57.9,9.6), (10.5,2.4,11.7,3.6), (82.5,2.4,83.7,3.6), (82.5,2.4,86.1,3.6), (-139.2,7.5,-133.2,53.7), (-59.1,8.4,-57.9,9.6), (0.6,8.4,1.8,9.6), (-139.2,9.3,-133.2,11.7), (-48.3,12.3,-46.5,28.2), (-48,12.6,-46.8,13.8), (125.7,12.6,126.9,13.8), (125.85,12.75,126.75,18.45), (-44.7,14.4,-43.5,49.5), (-39.9,15.3,-38.1,35.1), (-39.6,15.6,-38.4,16.8), (-18.3,15.6,-17.1,16.8), (-18.15,15.75,-17.25,16.65), (19.2,16.2,20.4,17.4), (19.2,16.2,20.4,36.6), (99.3,16.2,100.5,17.4), (99.45,16.35,100.35,17.25), (-34.5,18.6,-32.7,24.3), (-34.2,18.9,-33,20.1), (-11.1,18.9,-9.9,20.1), (-10.95,19.05,-10.05,19.95), (-34.5,22.5,-32.7,39.3), (141.6,22.5,147.6,24.9), (-48.3,26.4,-46.5,28.5), (-48,27,-46.8,28.2), (-19.2,27,-18,28.2), (-19.2,27,-18,36.6), (-39.9,33.3,-38.1,35.1), (-23.1,33.3,-21.9,34.5), (-23.1,33.3,-20.4,34.5), (16.8,33.3,18,51.3), (-39.6,33.6,-38.4,34.8), (-34.2,37.8,-33,39), (-18.3,37.8,-17.1,39), (-18.3,37.8,-15.6,39), (19.2,37.8,20.4,39), (19.2,37.8,20.4,44.1), (-16.8,40.2,-15.6,44.1), (-16.8,42.9,-15.6,44.1), (19.2,42.9,20.4,44.1), (-44.7,48.3,-43.5,51.3), (-139.2,49.5,-133.2,51.9), (-44.7,50.1,-43.5,51.3), (16.8,50.1,18,51.3), (-139.2,50.7,-133.2,64.5)])
R(match_counter8, via2, [(10.8,2.7,11.4,3.3), (82.8,2.7,83.4,3.3), (-58.8,8.7,-58.2,9.3), (0.9,8.7,1.5,9.3), (-47.7,12.9,-47.1,13.5), (126,12.9,126.6,13.5), (-39.3,15.9,-38.7,16.5), (-18,15.9,-17.4,16.5), (19.5,16.5,20.1,17.1), (99.6,16.5,100.2,17.1), (-33.9,19.2,-33.3,19.8), (-10.8,19.2,-10.2,19.8), (-47.7,27.3,-47.1,27.9), (-18.9,27.3,-18.3,27.9), (-22.8,33.6,-22.2,34.2), (-39.3,33.9,-38.7,34.5), (-33.9,38.1,-33.3,38.7), (-18,38.1,-17.4,38.7), (-16.5,43.2,-15.9,43.8), (19.5,43.2,20.1,43.8), (-44.4,50.4,-43.8,51), (17.1,50.4,17.7,51)])
R(match_counter8, metal3, [(10.5,2.4,11.7,3.6), (10.5,2.4,11.7,3.6), (10.5,2.4,83.7,3.6), (82.5,2.4,83.7,3.6), (-59.1,8.4,-57.9,9.6), (-59.1,8.4,1.8,9.6), (0.6,8.4,1.8,9.6), (-48,12.6,-46.8,13.8), (16.5,12.6,126.9,13.8), (125.7,12.6,126.9,13.8), (-47.85,12.75,17.55,13.65), (16.65,12.75,17.55,13.65), (-39.6,15.6,-38.4,16.8), (-39.6,15.6,-17.1,16.8), (-18.3,15.6,-17.1,16.8), (-39.45,15.75,-38.55,16.65), (19.2,16.2,20.4,17.4), (19.2,16.2,20.4,17.4), (19.2,16.2,100.5,17.4), (99.3,16.2,100.5,17.4), (-34.2,18.9,-33,20.1), (-34.2,18.9,-9.9,20.1), (-11.1,18.9,-9.9,20.1), (-34.05,19.05,-33.15,19.95), (-48,27,-46.8,28.2), (-48,27,-18,28.2), (-19.2,27,-18,28.2), (-39.6,33.3,-38.4,34.8), (-39.6,33.3,-21.9,34.5), (-23.1,33.3,-21.9,34.5), (-39.6,33.6,-38.4,34.8), (-34.2,37.8,-33,39), (-34.2,37.8,-17.1,39), (-18.3,37.8,-17.1,39), (-16.8,42.9,-15.6,44.1), (-16.8,42.9,20.4,44.1), (19.2,42.9,20.4,44.1), (-44.7,50.1,-43.5,51.3), (-44.7,50.1,18,51.3), (16.8,50.1,18,51.3)])
match_counter8.add(gdstk.Reference(adder4, (-104.7,-2.7)))
match_counter8.add(gdstk.Reference(adder4, (39.3,-2.7)))
match_counter8.add(gdstk.Reference(fulladder, (-21,23.7)))
match_counter8.add(gdstk.Reference(fulladder, (17.4,23.7)))
match_counter8.add(gdstk.Reference(halfadder, (25.5,-0.9)))

lib.write_gds('match_counter8.gds')
